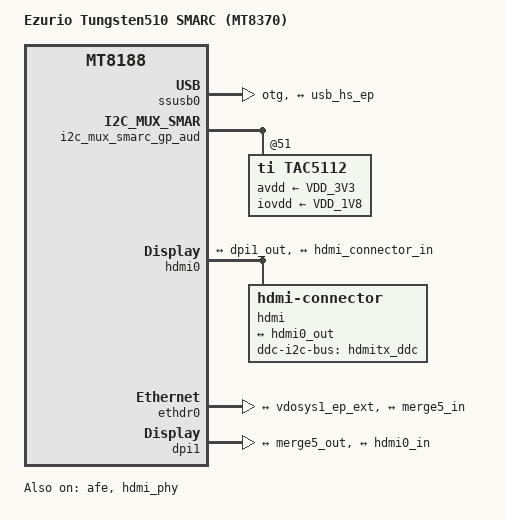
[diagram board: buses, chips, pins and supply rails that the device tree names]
// SPDX-License-Identifier: (GPL-2.0 OR MIT)
/*
 * Copyright (C) 2025 Ezurio LLC
 */
/dts-v1/;
#include "mt8188.dtsi"
#include "mt83x0-tungsten-smarc.dtsi"
#include "mt8370.dtsi"

/ {
	model = "Ezurio Tungsten510 SMARC (MT8370)";
	compatible = "ezurio,mt8370-tungsten-smarc", "mediatek,mt8370",
		     "mediatek,mt8188";
};

/delete-node/ &i2c_mux_smarc_gp_usbc;

&ssusb0 {
    dr_mode = "otg";
    usb-role-switch;
    role-switch-default-mode = "peripheral";

    /delete-node/ connector;

    ports {

		port@0 {
			reg = <0>;
			usb_hs_ep: endpoint {
				remote-endpoint = <&usb_hs_ep>;
			};
		};

        /delete-node/ port@1;
    };
};

&afe {
    memory-region = <&afe_dma_mem>;
    #sound-dai-cells = <0>;
    mediatek,etdm-in2-cowork-source = <2>;
    status = "okay";
};

&i2c_mux_smarc_gp_aud {
    /delete-node/ codec@1a;

    tac5112: audio-codec@51 {
        /* U1, TI, XTAC5112IRGER */
        #sound-dai-cells = <0>;
        compatible = "ti,tac5112";
        reg = <0x51>;

        clocks = <&topckgen CLK_TOP_I2SO1>;
        clock-names = "mclk";

        ti,vref = <0>;  /* 2.75V */
        ti,micbias-vg = <0>; /* same as Vref */
        ti,gpios-func = <0>, <1>, <0>; /* Input for GPIO2 (MIC_DETECT) */
        ti,gpi1-func = <1>; /* Input for GPI1 (HP_DET) */

        ti,gpios-drive = <0>, <0>, <1>; /* GPO1 Drive active low and active High */

        ti,gpa-gpio = <0>; /* GPA using GPIO1 is disabled */
        ti,gpa-threshold = <75>, <186>; /* GPA Low and High threshold Values */

        avdd-supply = <&VDD_3V3>;
        iovdd-supply = <&VDD_1V8>;
	};
};

&sound {
	compatible = "mediatek,mt8188-mt6359-evb";
	mediatek,dai-link =
		"DL2_FE", "DL3_FE", "DL6_FE", "DL7_FE", "DL8_FE", "DL10_FE", "DL11_FE",
		"UL1_FE", "UL2_FE", "UL3_FE", "UL4_FE", "UL5_FE", "UL6_FE", "UL8_FE",
		"UL9_FE", "UL10_FE", "ETDM1_OUT_BE", "ETDM2_IN_BE";
	mediatek,platform = <&afe>;
	model = "mt8370-evk";
	pinctrl-names = "default";
	pinctrl-0 = <&aud_pins_default>;
	audio-routing =
        "Headphone", "OUT1",
        "Headphone", "OUT2",
        "Headset Mic", "Mic Bias",
        "AIN1", "Headset Mic",
        "AIN2", "Headset Mic";

    status = "okay";

    dai-link-0 {
        link-name = "ETDM2_IN_BE";
        codec {
            sound-dai = <&tac5112>;
		};
    };

    dai-link-1 {
        link-name = "ETDM1_OUT_BE";
        codec {
            sound-dai = <&tac5112>;
		};
    };

};

&hdmi_phy {
	status = "okay";
};

&hdmi0 {
	status = "okay";

	connector {
		compatible = "hdmi-connector";
		ddc-i2c-bus = <&hdmitx_ddc>;
		label = "hdmi";
		type = "d";

		port {
			hdmi_connector_in: endpoint {
				remote-endpoint = <&hdmi0_out>;
			};
		};
	};

	ports {
		#address-cells = <1>;
		#size-cells = <0>;

		port@0 {
			reg = <0>;

			hdmi0_in: endpoint {
				remote-endpoint = <&dpi1_out>;
			};
		};

		port@1 {
			reg = <1>;

			hdmi0_out: endpoint {
				remote-endpoint = <&hdmi_connector_in>;
			};
		};
	};
};

&ethdr0 {
	ports {
		#address-cells = <1>;
		#size-cells = <0>;

		port@0 {
			#address-cells = <1>;
			#size-cells = <0>;
			reg = <0>;

			ethdr0_in: endpoint@1 {
				reg = <1>;
				remote-endpoint = <&vdosys1_ep_ext>;
			};
		};

		port@1 {
			#address-cells = <1>;
			#size-cells = <0>;
			reg = <1>;

			ethdr0_out: endpoint@1 {
				reg = <1>;
				remote-endpoint = <&merge5_in>;
			};
		};
	};
};

&dpi1 {
	status = "okay";

	ports {
		#address-cells = <1>;
		#size-cells = <0>;

		port@0 {
			#address-cells = <1>;
			#size-cells = <0>;
			reg = <0>;

			dpi1_in: endpoint@1 {
				reg = <1>;
				remote-endpoint = <&merge5_out>;
			};
		};

		port@1 {
			#address-cells = <1>;
			#size-cells = <0>;
			reg = <1>;

			dpi1_out: endpoint@1 {
				reg = <1>;
				remote-endpoint = <&hdmi0_in>;
			};
		};
	};
};

&merge5 {
	ports {
		#address-cells = <1>;
		#size-cells = <0>;

		port@0 {
			#address-cells = <1>;
			#size-cells = <0>;
			reg = <0>;

			merge5_in: endpoint@1 {
				reg = <1>;
				remote-endpoint = <&ethdr0_out>;
			};
		};

		port@1 {
			#address-cells = <1>;
			#size-cells = <0>;
			reg = <1>;

			merge5_out: endpoint@1 {
				reg = <1>;
				remote-endpoint = <&dpi1_in>;
			};
		};
	};
};

&vdosys1 {
	port {
		#address-cells = <1>;
		#size-cells = <0>;

		vdosys1_ep_ext: endpoint@1 {
			reg = <1>;
			remote-endpoint = <&ethdr0_in>;
		};
	};
};

